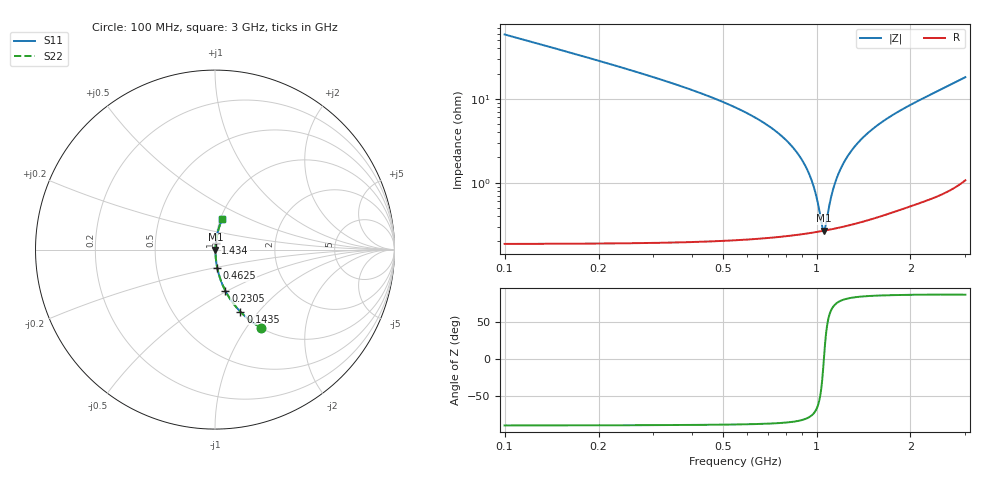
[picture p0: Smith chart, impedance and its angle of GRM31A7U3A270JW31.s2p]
!Murata Part Number: GRM31A7U3A270JW31
!These Parameters are Measured in Series Mode Connection
!Data Generated on Mar 30, 2021
!  o--ll--o
!Port1  Port2
!  o------o
!Operation Temp=25[degC], DC Bias Voltage=0[V]
!Freq. Start=100[MHz] Stop=3[GHz] 401[Steps]
# Hz S RI R 50
!Freq.(Hz) S11(Real) S11(Imag) S21(Real) S21(Imag) S12(Real) S12(Imag) S22(Real) S22(Imag)
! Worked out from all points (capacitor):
!   401 points, 100 MHz to 3 GHz, reference 50 ohm
!   read as one part in series: C = 27 pF near 114.5 MHz
!   lowest |Z| = 268 mohm at 1.057 GHz (marker M1)
!   series resonance near 1.056 GHz, so ESL is about 840 pH
!   S11 on the Smith chart (normalised r, x): 100 MHz: 1.00, -1.17; 143.5 MHz: 1.00, -0.81; 230.5 MHz: 1.00, -0.49; 462.5 MHz: 1.00, -0.21; 1.434 GHz: 1.01, +0.07; 3 GHz: 1.02, +0.36
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1e8  0.2552 -0.4344  0.7448 0.4344  0.7448 0.4344  0.2552 -0.4344
1.435e8  0.1411 -0.3458  0.8589 0.3458  0.8589 0.3458  0.1411 -0.3458
2.305e8  0.0577 -0.2294  0.9423 0.2294  0.9423 0.2294  0.0577 -0.2294
4.625e8  0.0125 -0.1021  0.9875 0.1021  0.9875 0.1021  0.0125 -0.1021
5.8575e8  0.00697 -0.0696  0.993 0.0696  0.993 0.0696  0.00697 -0.0696
7.7425e8  0.00354 -0.0355  0.9965 0.0355  0.9965 0.0355  0.00354 -0.0355
8.975e8  0.00277 -0.0185  0.9972 0.0185  0.9972 0.0185  0.00277 -0.0185
9.7e8  0.00262 -0.00964  0.9974 0.00964  0.9974 0.00964  0.00262 -0.00964
9.99e8  0.00262 -0.00629  0.9974 0.00629  0.9974 0.00629  0.00262 -0.00629
1.0425e9  0.00265 -0.00143  0.9973 0.00143  0.9973 0.00143  0.00265 -0.00143
1.057e9  0.00267 0.000147  0.9973 -0.000147  0.9973 -0.000147  0.00267 0.000147
1.0715e9  0.0027 0.00171  0.9973 -0.00171  0.9973 -0.00171  0.0027 0.00171
1.10775e9  0.00279 0.00552  0.9972 -0.00552  0.9972 -0.00552  0.00279 0.00552
1.1295e9  0.00286 0.00776  0.9971 -0.00776  0.9971 -0.00776  0.00286 0.00776
1.19475e9  0.00314 0.0143  0.9969 -0.0143  0.9969 -0.0143  0.00314 0.0143
1.29625e9  0.00373 0.0239  0.9963 -0.0239  0.9963 -0.0239  0.00373 0.0239
1.434e9  0.00481 0.0363  0.9952 -0.0363  0.9952 -0.0363  0.00481 0.0363
1.55e9  0.00595 0.0462  0.9941 -0.0462  0.9941 -0.0462  0.00595 0.0462
1.76025e9  0.00851 0.0636  0.9915 -0.0636  0.9915 -0.0636  0.00851 0.0636
2.03575e9  0.0128 0.0859  0.9872 -0.0859  0.9872 -0.0859  0.0128 0.0859
2.5215e9  0.0236 0.1266  0.9764 -0.1266  0.9764 -0.1266  0.0236 0.1266
3e9  0.0413 0.1715  0.9587 -0.1715  0.9587 -0.1715  0.0413 0.1715
